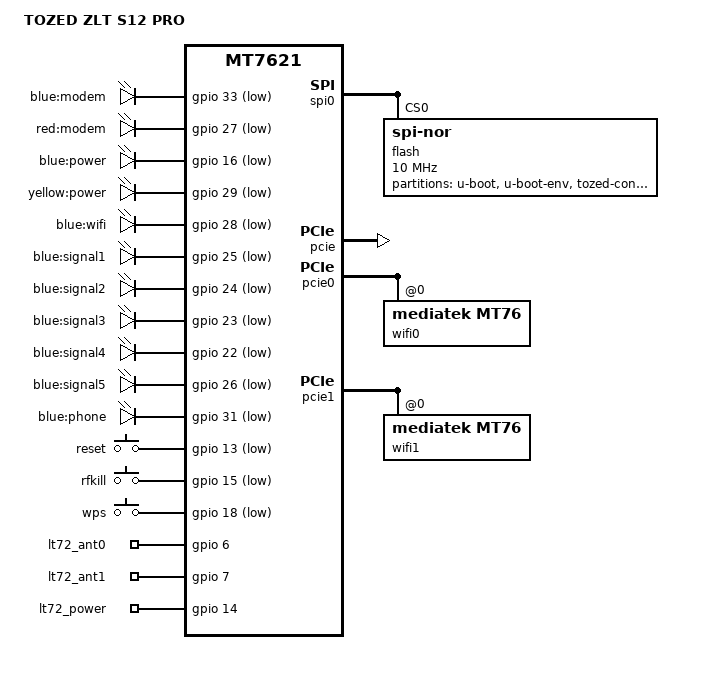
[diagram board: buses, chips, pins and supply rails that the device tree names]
// SPDX-License-Identifier: GPL-2.0-or-later OR MIT

#include "mt7621.dtsi"

#include <dt-bindings/gpio/gpio.h>
#include <dt-bindings/input/input.h>
#include <dt-bindings/leds/common.h>

/ {
	compatible = "tozed,zlt-s12-pro", "mediatek,mt7621-soc";
	model = "TOZED ZLT S12 PRO";

	aliases {
		led-boot = &led_power_blue;
		led-failsafe = &led_power_yellow;
		led-running = &led_power_blue;
		led-upgrade = &led_power_blue;
		label-mac-device = &wifi1;
	};

	chosen {
		bootargs = "console=ttyS0,115200";
	};

	leds {
		compatible = "gpio-leds";

		led-modem-blue {
			label = "blue:modem";
			gpios = <&gpio 33 GPIO_ACTIVE_LOW>;
		};

		led-modem-red {
			label = "red:modem";
			gpios = <&gpio 27 GPIO_ACTIVE_LOW>;
		};

		led_power_blue: led-power-blue {
			label = "blue:power";
			gpios = <&gpio 16 GPIO_ACTIVE_LOW>;
		};

		led_power_yellow: led-power-yellow {
			label = "yellow:power";
			gpios = <&gpio 29 GPIO_ACTIVE_LOW>;
		};

		led-wifi {
			label = "blue:wifi";
			gpios = <&gpio 28 GPIO_ACTIVE_LOW>;
			linux,default-trigger = "phy0tpt";
		};

		led-signal1 {
			label = "blue:signal1";
			gpios = <&gpio 25 GPIO_ACTIVE_LOW>;
		};

		led-signal2 {
			label = "blue:signal2";
			gpios = <&gpio 24 GPIO_ACTIVE_LOW>;
		};

		led-signal3 {
			label = "blue:signal3";
			gpios = <&gpio 23 GPIO_ACTIVE_LOW>;
		};

		led-signal4 {
			label = "blue:signal4";
			gpios = <&gpio 22 GPIO_ACTIVE_LOW>;
		};

		led-signal5 {
			label = "blue:signal5";
			gpios = <&gpio 26 GPIO_ACTIVE_LOW>;
		};

		led-phone {
			label = "blue:phone";
			gpios = <&gpio 31 GPIO_ACTIVE_LOW>;
		};
	};

	keys {
		compatible = "gpio-keys";

		button-reset {
			label = "reset";
			gpios = <&gpio 13 GPIO_ACTIVE_LOW>;
			linux,code = <KEY_RESTART>;
		};

		button-rfkill {
			label = "rfkill";
			gpios = <&gpio 15 GPIO_ACTIVE_LOW>;
			linux,code = <KEY_RFKILL>;
		};

		button-wps {
			label = "wps";
			gpios = <&gpio 18 GPIO_ACTIVE_LOW>;
			linux,code = <KEY_WPS_BUTTON>;
		};
	};

	gpio_export {
		compatible = "gpio-export";

		lt72_ant0 {
			gpio-export,name = "lt72_ant0";
			gpio-export,input = <0>;
			gpios = <&gpio 6 GPIO_ACTIVE_HIGH>;
		};

		lt72_ant1 {
			gpio-export,name = "lt72_ant1";
			gpio-export,input = <0>;
			gpios = <&gpio 7 GPIO_ACTIVE_HIGH>;
		};

		lt72_power {
			gpio-export,name = "lt72_power";
			gpio-export,output = <1>;
			gpios = <&gpio 14 GPIO_ACTIVE_HIGH>;
		};
	};
};

&spi0 {
	status = "okay";

	flash@0 {
		compatible = "jedec,spi-nor";
		reg = <0>;
		spi-max-frequency = <10000000>;

		partitions {
			compatible = "fixed-partitions";
			#address-cells = <1>;
			#size-cells = <1>;

			partition@0 {
				label = "u-boot";
				reg = <0x0 0x30000>;
				read-only;
			};

			partition@30000 {
				label = "u-boot-env";
				reg = <0x30000 0x8000>;
				read-only;
			};

			// Stock config partition
			partition@38000 {
				label = "tozed-conf";
				reg = <0x38000 0x8000>;
				read-only;
			};

			factory: partition@40000 {
				compatible = "nvmem-cells";
				label = "factory";
				reg = <0x40000 0x10000>;
				#address-cells = <1>;
				#size-cells = <1>;
				read-only;

				eeprom_factory_0: eeprom@0 {
					reg = <0x0 0x400>;
				};

				eeprom_factory_8000: eeprom@8000 {
					reg = <0x8000 0x200>;
				};

				macaddr_factory_e000: macaddr@e000 {
					reg = <0xe000 0x6>;
				};
			};

			partition@50000 {
				compatible = "denx,uimage";
				label = "firmware";
				reg = <0x50000 0xfb0000>;
			};
		};
	};
};

&pcie {
	status = "okay";
};

&pcie0 {
	wifi0: mt76@0,0 {
		compatible = "mediatek,mt76";
		reg = <0x0000 0 0 0 0>;
		nvmem-cells = <&eeprom_factory_8000>;
		nvmem-cell-names = "eeprom";
		ieee80211-freq-limit = <5000000 6000000>;
	};
};

&pcie1 {
	wifi1: mt76@0,0 {
		compatible = "mediatek,mt76";
		reg = <0x0000 0 0 0 0>;
		nvmem-cells = <&eeprom_factory_0>;
		nvmem-cell-names = "eeprom";
		ieee80211-freq-limit = <2400000 2500000>;
	};
};

&ethernet {
	pinctrl-0 = <&mdio_pins>, <&rgmii1_pins>;
};

&gmac0 {
	nvmem-cells = <&macaddr_factory_e000>;
	nvmem-cell-names = "mac-address";
};

&switch0 {
	ports {
		port@0 {
			status = "okay";
			label = "wan";
		};

		port@1 {
			status = "okay";
			label = "lan3";
		};

		port@2 {
			status = "okay";
			label = "lan2";
		};

		port@4 {
			status = "okay";
			label = "lan1";
		};
	};
};

&state_default {
	gpio {
		groups = "wdt", "rgmii2", "jtag", "uart3";
		function = "gpio";
	};
};
